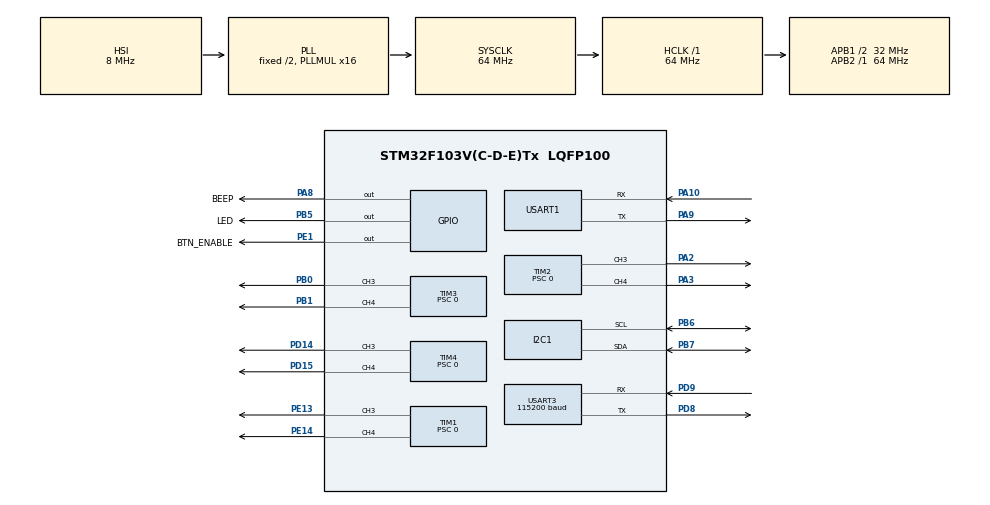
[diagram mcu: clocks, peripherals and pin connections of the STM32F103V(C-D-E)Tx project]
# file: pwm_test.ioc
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Mcu.Family=STM32F1
Mcu.Name=STM32F103V(C-D-E)Tx
Mcu.Package=LQFP100
NVIC.PriorityGroup=NVIC_PRIORITYGROUP_4
NVIC.TIM7_IRQn=true\:2\:0\:true\:false\:true\:true\:true
NVIC.USART1_IRQn=true\:1\:0\:true\:true\:true\:1\:true\:true
NVIC.USART3_IRQn=true\:0\:0\:false\:false\:true\:true\:true
PA10.Mode=Asynchronous
PA10.Signal=USART1_RX
PA2.Signal=S_TIM2_CH3
PA3.Signal=S_TIM2_CH4
PA8.GPIO_Label=BEEP
PA8.Signal=GPIO_Output
PA9.Mode=Asynchronous
PA9.Signal=USART1_TX
PB0.Signal=S_TIM3_CH3
PB1.Signal=S_TIM3_CH4
PB5.GPIO_Label=LED
PB5.PinState=GPIO_PIN_SET
PB5.Signal=GPIO_Output
PB6.Mode=I2C
PB6.Signal=I2C1_SCL
PB7.Mode=I2C
PB7.Signal=I2C1_SDA
PD14.Signal=S_TIM4_CH3
PD15.Signal=S_TIM4_CH4
PD8.Mode=Asynchronous
PD8.Signal=USART3_TX
PD9.Mode=Asynchronous
PD9.Signal=USART3_RX
PE1.GPIO_Label=BTN_ENABLE
PE1.PinState=GPIO_PIN_SET
PE1.Signal=GPIO_Output
PE13.Signal=S_TIM1_CH3
PE14.Signal=S_TIM1_CH4
ProjectManager.HeapSize=0x200
ProjectManager.StackSize=0x400
ProjectManager.TargetToolchain=STM32CubeIDE
RCC.AHBFreq_Value=64000000
RCC.APB1CLKDivider=RCC_HCLK_DIV2
RCC.APB1Freq_Value=32000000
RCC.APB1TimFreq_Value=64000000
RCC.APB2Freq_Value=64000000
RCC.APB2TimFreq_Value=64000000
RCC.HCLKFreq_Value=64000000
RCC.PLLMUL=RCC_PLL_MUL16
RCC.SYSCLKFreq_VALUE=64000000
RCC.SYSCLKSource=RCC_SYSCLKSOURCE_PLLCLK
RCC.USBFreq_Value=64000000
SH.S_TIM1_CH3.0=TIM1_CH3,PWM Generation3 CH3
SH.S_TIM1_CH4.0=TIM1_CH4,PWM Generation4 CH4
SH.S_TIM2_CH3.0=TIM2_CH3,PWM Generation3 CH3
SH.S_TIM2_CH4.0=TIM2_CH4,PWM Generation4 CH4
SH.S_TIM3_CH3.0=TIM3_CH3,PWM Generation3 CH3
SH.S_TIM3_CH4.0=TIM3_CH4,PWM Generation4 CH4
SH.S_TIM4_CH3.0=TIM4_CH3,PWM Generation3 CH3
SH.S_TIM4_CH4.0=TIM4_CH4,PWM Generation4 CH4
TIM1.AutoReloadPreload=TIM_AUTORELOAD_PRELOAD_ENABLE
TIM1.Channel-PWM\ Generation3\ CH3=TIM_CHANNEL_3
TIM1.Channel-PWM\ Generation4\ CH4=TIM_CHANNEL_4
TIM1.OC3Preload_PWM=DISABLE
TIM1.Period=6399
TIM1.Prescaler=0
TIM1.Pulse-PWM\ Generation3\ CH3=500
TIM1.Pulse-PWM\ Generation4\ CH4=500
TIM1.TIM_MasterOutputTrigger=TIM_TRGO_UPDATE
TIM2.AutoReloadPreload=TIM_AUTORELOAD_PRELOAD_ENABLE
TIM2.Channel-PWM\ Generation3\ CH3=TIM_CHANNEL_3
TIM2.Channel-PWM\ Generation4\ CH4=TIM_CHANNEL_4
TIM2.Period=6399
TIM2.Prescaler=0
TIM2.Pulse-PWM\ Generation3\ CH3=500
TIM2.Pulse-PWM\ Generation4\ CH4=500
TIM3.AutoReloadPreload=TIM_AUTORELOAD_PRELOAD_ENABLE
TIM3.Channel-PWM\ Generation3\ CH3=TIM_CHANNEL_3
TIM3.Channel-PWM\ Generation4\ CH4=TIM_CHANNEL_4
TIM3.Period=6399
TIM3.Prescaler=0
TIM3.Pulse-PWM\ Generation3\ CH3=500
TIM3.Pulse-PWM\ Generation4\ CH4=500
TIM3.TIM_MasterOutputTrigger=TIM_TRGO_UPDATE
TIM4.AutoReloadPreload=TIM_AUTORELOAD_PRELOAD_ENABLE
TIM4.Channel-PWM\ Generation3\ CH3=TIM_CHANNEL_3
TIM4.Channel-PWM\ Generation4\ CH4=TIM_CHANNEL_4
TIM4.Period=6399
TIM4.Prescaler=0
TIM4.Pulse-PWM\ Generation3\ CH3=500
TIM4.Pulse-PWM\ Generation4\ CH4=500
TIM4.TIM_MasterOutputTrigger=TIM_TRGO_UPDATE
TIM7.AutoReloadPreload=TIM_AUTORELOAD_PRELOAD_ENABLE
TIM7.Period=9999
TIM7.Prescaler=63
USART1.VirtualMode=VM_ASYNC
USART3.BaudRate=115200
USART3.VirtualMode=VM_ASYNC
VP_SYS_VS_ND.Mode=No_Debug
VP_TIM7_VS_ClockSourceINT.Mode=Enable_Timer
board=custom

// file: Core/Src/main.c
/* USER CODE BEGIN Header */
/**
  ******************************************************************************
  * @file           : main.c
  * @brief          : Main program body
  ******************************************************************************
  * @attention
  *
  * <h2><center>&copy; Copyright (c) 2022 STMicroelectronics.
  * All rights reserved.</center></h2>
  *
  * This software component is licensed by ST under BSD 3-Clause license,
  * the "License"; You may not use this file except in compliance with the
  * License. You may obtain a copy of the License at:
  *                        opensource.org/licenses/BSD-3-Clause
  *
  ******************************************************************************
  */
/* USER CODE END Header */
#include "main.h"
#include "i2c.h"
#include "tim.h"
#include "usart.h"
#include "gpio.h"

/* USER CODE BEGIN Includes */
#include "motor.h"
#include "encode.h"
#include "stdio.h"
#include "beep.h"
#include "blueteeth.h"
#include "oled.h"
#include "openmv.h"

/* USER CODE END Includes */

/* USER CODE BEGIN PTD */

#define LED_OFF()    HAL_GPIO_WritePin(GPIOB, GPIO_PIN_5, GPIO_PIN_SET)
#define LED_ON()     HAL_GPIO_WritePin(GPIOB, GPIO_PIN_5,GPIO_PIN_RESET)

/* USER CODE END PTD */

/* USER CODE BEGIN PM */

	extern unsigned char RX_dat;
/* USER CODE END PM */

void SystemClock_Config(void);
static void MX_NVIC_Init(void);

int main(void)
{

  /* MCU Configuration--------------------------------------------------------*/

  /* Reset of all peripherals, Initializes the Flash interface and the Systick. */
  HAL_Init();

  /* USER CODE BEGIN Init */

//  _Pid_ P1;    //  PID 测试代码
//  _Pid_ P2;
//  PID_param_init(P1);

  /* USER CODE END Init */

  /* Configure the system clock */
  SystemClock_Config();

  /* Initialize all configured peripherals */
  MX_GPIO_Init();
  MX_TIM1_Init();
  MX_TIM3_Init();
  MX_TIM4_Init();
  MX_TIM2_Init();
  MX_USART1_UART_Init();
  MX_TIM7_Init();
  MX_USART3_UART_Init();
  MX_I2C1_Init();

  /* Initialize interrupts */
  MX_NVIC_Init();
  /* USER CODE BEGIN 2 */

    //HAL_TIM_Base_Start_IT(&htim7);  // tim.c --- 定时7  编码器采样时 10ms
    //HAL_TIM_Encoder_Start(&htim8,TIM_CHANNEL_1 | TIM_CHANNEL_2); // 编码器捕获

	HAL_GPIO_WritePin(GPIOE, GPIO_PIN_1,GPIO_PIN_SET);//BTN驱动   ENABLE
  	Mecanum_wheel_Init();    // 麦轮PWM
  	 OLED_Init();   //oled  init
  	 OLED_Clear(); //清屏

//  	GDB_PRINTF("  -----UART test_heading ---------- \r\n");
//  	GDB_PRINTF(" -----------------------------------\r\n");
  	 HAL_UART_Receive_IT(&huart3,&RX_dat,1); // 蓝牙串口中断接收

//  	Rotation();
//  	HAL_Delay(2000);
  	  //Left_Sidesway();
//  	SingleMotor_Ctrol(1,0,6400);
//  	SingleMotor_Ctrol(2,3200,0);
  	//PRINTF_FUN();
 	 	Boot_animation();
 	//GDB_PRINTF("behind oled_show\r\n");

  /* USER CODE END 2 */

  /* Infinite loop */
  while (1)
  {

    /* USER CODE BEGIN 3 */
	  oled_show();
	 Car_mode_control();
  }
  /* USER CODE END 3 */
}

void SystemClock_Config(void)
{
  RCC_OscInitTypeDef RCC_OscInitStruct = {0};
  RCC_ClkInitTypeDef RCC_ClkInitStruct = {0};

  /** Initializes the RCC Oscillators according to the specified parameters
  * in the RCC_OscInitTypeDef structure.
  */
  RCC_OscInitStruct.OscillatorType = RCC_OSCILLATORTYPE_HSI;
  RCC_OscInitStruct.HSIState = RCC_HSI_ON;
  RCC_OscInitStruct.HSICalibrationValue = RCC_HSICALIBRATION_DEFAULT;
  RCC_OscInitStruct.PLL.PLLState = RCC_PLL_ON;
  RCC_OscInitStruct.PLL.PLLSource = RCC_PLLSOURCE_HSI_DIV2;
  RCC_OscInitStruct.PLL.PLLMUL = RCC_PLL_MUL16;
  if (HAL_RCC_OscConfig(&RCC_OscInitStruct) != HAL_OK)
  {
    Error_Handler();
  }
  /** Initializes the CPU, AHB and APB buses clocks
  */
  RCC_ClkInitStruct.ClockType = RCC_CLOCKTYPE_HCLK|RCC_CLOCKTYPE_SYSCLK
                              |RCC_CLOCKTYPE_PCLK1|RCC_CLOCKTYPE_PCLK2;
  RCC_ClkInitStruct.SYSCLKSource = RCC_SYSCLKSOURCE_PLLCLK;
  RCC_ClkInitStruct.AHBCLKDivider = RCC_SYSCLK_DIV1;
  RCC_ClkInitStruct.APB1CLKDivider = RCC_HCLK_DIV2;
  RCC_ClkInitStruct.APB2CLKDivider = RCC_HCLK_DIV1;

  if (HAL_RCC_ClockConfig(&RCC_ClkInitStruct, FLASH_LATENCY_2) != HAL_OK)
  {
    Error_Handler();
  }
}

/**
  * @brief NVIC Configuration.
  * @retval None
  */
static void MX_NVIC_Init(void)
{
  /* USART1_IRQn interrupt configuration */
  HAL_NVIC_SetPriority(USART1_IRQn, 1, 0);
  HAL_NVIC_EnableIRQ(USART1_IRQn);
}

void Error_Handler(void)
{
  __disable_irq();
  while (1)
  {
  }
}

/************************ (C) COPYRIGHT STMicroelectronics *****END OF FILE****/
